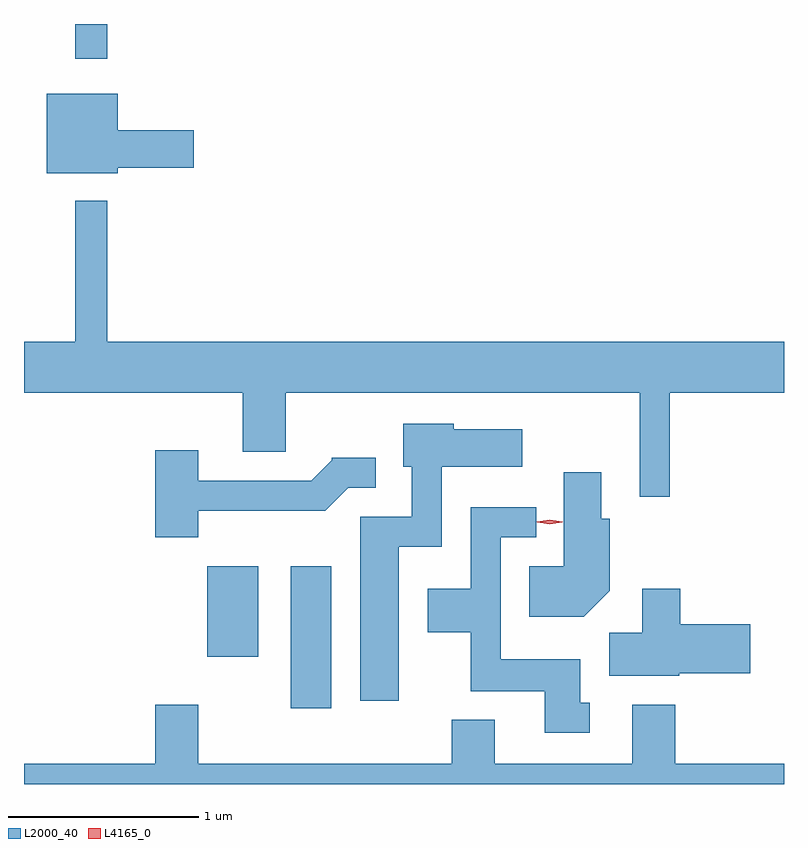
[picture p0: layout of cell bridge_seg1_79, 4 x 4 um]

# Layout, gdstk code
import gdstk
lib = gdstk.Library(unit=1e-6, precision=1e-09)
def R(c, l, rs):  # rectangles x0, y0, x1, y1
    for r in rs: c.add(gdstk.rectangle(r[:2], r[2:], *l))
def P(c, l, *ps):  # polygons
    for p in ps: c.add(gdstk.Polygon(p, *l))
L2000_40 = (2000, 40)
L4165_0 = (4165, 0)

bridge_seg1_79 = lib.new_cell('bridge_seg1_79')
R(bridge_seg1_79, L2000_40, [(1264.246,851.296,1264.459,852.044), (1263.806,851.566,1264.074,852.044), (1263.111,854.713,1263.279,854.897)])
P(bridge_seg1_79, L2000_40, [(1263.334,854.141),(1263.734,854.141),(1263.734,854.339),(1263.334,854.339),(1263.334,854.529),(1262.961,854.529),(1262.961,854.111),(1263.334,854.111)],
  [(1266.239,852.956),(1266.841,852.956),(1266.841,853.224),(1263.279,853.224),(1263.279,853.968),(1263.111,853.968),(1263.111,853.224),(1262.841,853.224),(1262.841,852.956),(1263.991,852.956),(1263.991,852.646),(1264.219,852.646),(1264.219,852.956),(1266.081,852.956),(1266.081,852.408),(1266.239,852.408)],
  [(1264.814,852.146),(1265.039,852.146),(1265.039,852.566),(1265.464,852.566),(1265.464,852.764),(1265.104,852.764),(1265.104,852.794),(1264.836,852.794),(1264.836,852.566),(1264.881,852.566),(1264.881,852.304),(1264.611,852.304),(1264.611,851.336),(1264.814,851.336)],
  [(1263.759,852.336),(1264.427,852.336),(1264.547,852.456),(1264.693,852.456),(1264.693,852.614),(1264.46,852.614),(1264.46,852.601),(1264.354,852.494),(1263.759,852.494),(1263.759,852.654),(1263.531,852.654),(1263.531,852.196),(1263.759,852.196)],
  [(1265.924,851.914),(1265.924,852.294),(1265.879,852.294),(1265.879,852.539),(1265.681,852.539),(1265.681,852.044),(1265.501,852.044),(1265.501,851.776),(1265.787,851.776)],
  [(1265.818,851.324),(1265.769,851.324),(1265.769,851.554),(1265.349,851.554),(1265.349,852.196),(1265.538,852.196),(1265.538,852.354),(1265.191,852.354),(1265.191,851.924),(1264.966,851.924),(1264.966,851.696),(1265.191,851.696),(1265.191,851.386),(1265.581,851.386),(1265.581,851.166),(1265.818,851.166)],
  [(1266.29,851.481),(1266.664,851.481),(1266.664,851.739),(1266.294,851.739),(1266.294,851.924),(1266.096,851.924),(1266.096,851.694),(1265.921,851.694),(1265.921,851.466),(1266.29,851.466)],
  [(1266.841,851.004),(1266.269,851.004),(1266.269,851.314),(1266.041,851.314),(1266.041,851.004),(1265.319,851.004),(1265.319,851.234),(1265.091,851.234),(1265.091,851.004),(1263.759,851.004),(1263.759,851.314),(1263.531,851.314),(1263.531,851.004),(1262.841,851.004),(1262.841,850.897),(1266.841,850.897)])
P(bridge_seg1_79, L4165_0, [(1265.608,852.267),(1265.539,852.276),(1265.538,852.277),(1265.539,852.277),(1265.608,852.287),(1265.677,852.277),(1265.677,852.277),(1265.677,852.276)],
  [(1265.608,852.265),(1265.542,852.274),(1265.542,852.275),(1265.542,852.275),(1265.608,852.285),(1265.674,852.275),(1265.675,852.275),(1265.674,852.274)])

lib.write_gds('bridge_seg1_79.gds')
